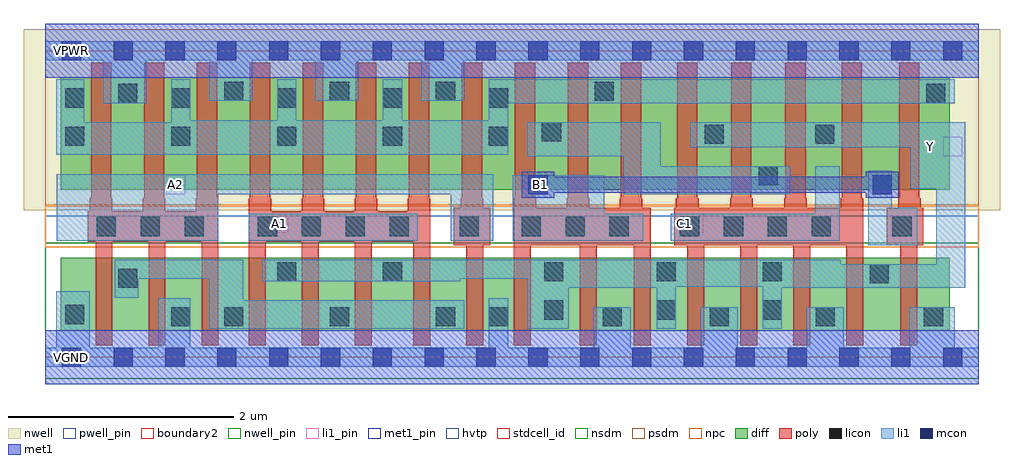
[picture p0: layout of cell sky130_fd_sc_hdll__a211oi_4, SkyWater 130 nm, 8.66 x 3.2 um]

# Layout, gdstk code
import gdstk
lib = gdstk.Library(unit=1e-6, precision=1e-09)
def R(c, l, rs):  # rectangles x0, y0, x1, y1
    for r in rs: c.add(gdstk.rectangle(r[:2], r[2:], *l))
def A(c, l, x, y, w, h, nx, ny, dx, dy):  # array of equal rectangles
    R(c, l, [(x+i*dx, y+j*dy, x+i*dx+w, y+j*dy+h) for i in range(nx) for j in range(ny)])
def P(c, l, *ps):  # polygons
    for p in ps: c.add(gdstk.Polygon(p, *l))
nwell_pin = (64, 16)
nwell = (64, 20)
diff = (65, 20)
poly = (66, 20)
licon = (66, 44)
li1_pin = (67, 16)
li1 = (67, 20)
mcon = (67, 44)
met1_pin = (68, 16)
met1 = (68, 20)
hvtp = (78, 44)
stdcell_id = (81, 4)
nsdm = (93, 44)
psdm = (94, 20)
npc = (95, 20)
pwell_pin = (122, 16)
boundary2 = (236, 0)

sky130_fd_sc_hdll__a211o = lib.new_cell('sky130_fd_sc_hdll__a211oi_4')
R(sky130_fd_sc_hdll__a211o, nwell_pin, [(0.15,2.635,0.32,2.805)])
R(sky130_fd_sc_hdll__a211o, nwell, [(-0.19,1.305,8.47,2.91)])
R(sky130_fd_sc_hdll__a211o, diff, [(0.135,0.235,8.025,0.885), (0.135,1.485,8.025,2.485)])
P(sky130_fd_sc_hdll__a211o, poly, [(1.535,1.41),(1.525,1.41),(1.525,2.615),(1.345,2.615),(1.345,1.41),(1.335,1.41),(1.335,1.295),(1.065,1.295),(1.065,1.41),(1.055,1.41),(1.055,2.615),(0.875,2.615),(0.875,1.41),(0.865,1.41),(0.865,1.295),(0.595,1.295),(0.595,1.41),(0.585,1.41),(0.585,2.615),(0.405,2.615),(0.405,1.41),(0.395,1.41),(0.395,1.295),(0.375,1.295),(0.375,1.025),(0.445,1.025),(0.445,0.105),(0.595,0.105),(0.595,1.025),(0.915,1.025),(0.915,0.105),(1.065,0.105),(1.065,1.025),(1.385,1.025),(1.385,0.105),(1.535,0.105)],
  [(3.415,1.41),(3.405,1.41),(3.405,2.615),(3.225,2.615),(3.225,1.41),(3.215,1.41),(3.215,1.295),(2.945,1.295),(2.945,1.41),(2.935,1.41),(2.935,2.615),(2.755,2.615),(2.755,1.41),(2.745,1.41),(2.745,1.295),(2.475,1.295),(2.475,1.41),(2.465,1.41),(2.465,2.615),(2.285,2.615),(2.285,1.41),(2.275,1.41),(2.275,1.295),(2.005,1.295),(2.005,1.41),(1.995,1.41),(1.995,2.615),(1.815,2.615),(1.815,1.41),(1.805,1.41),(1.805,0.105),(1.955,0.105),(1.955,1.025),(2.275,1.025),(2.275,0.105),(2.425,0.105),(2.425,1.025),(2.745,1.025),(2.745,0.105),(2.895,0.105),(2.895,1.025),(3.265,1.025),(3.265,0.105),(3.415,0.105)],
  [(3.945,1.325),(3.885,1.325),(3.885,1.41),(3.875,1.41),(3.875,2.615),(3.695,2.615),(3.695,1.41),(3.685,1.41),(3.685,1.325),(3.625,1.325),(3.625,0.995),(3.735,0.995),(3.735,0.105),(3.885,0.105),(3.885,0.995),(3.945,0.995)],
  [(5.37,1.325),(5.295,1.325),(5.295,1.41),(5.285,1.41),(5.285,2.615),(5.105,2.615),(5.105,1.41),(5.095,1.41),(5.095,1.325),(4.825,1.325),(4.825,1.41),(4.815,1.41),(4.815,2.615),(4.635,2.615),(4.635,1.41),(4.625,1.41),(4.625,1.325),(4.355,1.325),(4.355,1.41),(4.345,1.41),(4.345,2.615),(4.165,2.615),(4.165,1.41),(4.155,1.41),(4.155,0.105),(4.305,0.105),(4.305,0.995),(4.74,0.995),(4.74,0.105),(4.89,0.105),(4.89,0.995),(5.22,0.995),(5.22,0.105),(5.37,0.105)],
  [(7.255,1.41),(7.245,1.41),(7.245,2.615),(7.065,2.615),(7.065,1.41),(7.055,1.41),(7.055,1.325),(6.755,1.325),(6.755,1.41),(6.745,1.41),(6.745,2.615),(6.565,2.615),(6.565,1.41),(6.555,1.41),(6.555,1.325),(6.275,1.325),(6.275,1.41),(6.265,1.41),(6.265,2.615),(6.085,2.615),(6.085,1.41),(6.075,1.41),(6.075,1.325),(5.795,1.325),(5.795,1.41),(5.785,1.41),(5.785,2.615),(5.605,2.615),(5.605,1.41),(5.595,1.41),(5.595,1.325),(5.58,1.325),(5.58,0.995),(5.695,0.995),(5.695,0.105),(5.845,0.105),(5.845,0.995),(6.165,0.995),(6.165,0.105),(6.315,0.105),(6.315,0.995),(6.635,0.995),(6.635,0.105),(6.785,0.105),(6.785,0.995),(7.105,0.995),(7.105,0.105),(7.255,0.105)],
  [(7.79,1.325),(7.765,1.325),(7.765,1.41),(7.755,1.41),(7.755,2.615),(7.575,2.615),(7.575,1.41),(7.565,1.41),(7.565,1.325),(7.465,1.325),(7.465,0.995),(7.585,0.995),(7.585,0.105),(7.735,0.105),(7.735,0.995),(7.79,0.995)])
A(sky130_fd_sc_hdll__a211o, licon, 1.585, 0.275, 0.17, 0.17, 3, 2, 0.94, 2)
A(sky130_fd_sc_hdll__a211o, licon, 0.455, 1.075, 0.17, 0.17, 3, 1, 0.39, 0)
A(sky130_fd_sc_hdll__a211o, licon, 1.885, 1.075, 0.17, 0.17, 4, 1, 0.39, 0)
A(sky130_fd_sc_hdll__a211o, licon, 4.225, 1.075, 0.17, 0.17, 3, 1, 0.39, 0)
A(sky130_fd_sc_hdll__a211o, licon, 5.63, 1.075, 0.17, 0.17, 4, 1, 0.39, 0)
A(sky130_fd_sc_hdll__a211o, licon, 0.175, 1.875, 0.17, 0.17, 5, 2, 0.94, 0.34)
R(sky130_fd_sc_hdll__a211o, licon, [(1.115,0.275,1.285,0.445), (3.935,0.275,4.105,0.445), (4.945,0.275,5.115,0.445), (5.895,0.275,6.065,0.445), (6.835,0.275,7.005,0.445), (7.795,0.275,7.965,0.445), (0.175,0.295,0.345,0.465), (4.425,0.335,4.595,0.505), (5.425,0.335,5.595,0.505), (6.365,0.335,6.535,0.505), (0.645,0.615,0.815,0.785), (7.315,0.655,7.485,0.825), (2.055,0.675,2.225,0.845), (2.995,0.675,3.165,0.845), (4.425,0.675,4.595,0.845), (5.425,0.675,5.595,0.845), (6.365,0.675,6.535,0.845), (3.675,1.075,3.845,1.245), (7.515,1.075,7.685,1.245), (6.33,1.525,6.5,1.695), (5.85,1.895,6.02,2.065), (6.83,1.895,7,2.065), (4.405,1.915,4.575,2.085), (0.645,2.255,0.815,2.425), (7.815,2.255,7.985,2.425), (4.875,2.275,5.045,2.445)])
R(sky130_fd_sc_hdll__a211o, li1_pin, [(1.985,1.105,2.155,1.275), (5.665,1.105,5.835,1.275), (1.07,1.445,1.24,1.615), (7.965,1.785,8.135,1.955)])
R(sky130_fd_sc_hdll__a211o, li1, [(1.805,1.035,3.305,1.275)])
P(sky130_fd_sc_hdll__a211o, li1, [(8.28,0.085),(8.07,0.085),(8.07,0.445),(7.665,0.445),(7.665,0.085),(7.085,0.085),(7.085,0.445),(6.755,0.445),(6.755,0.085),(6.145,0.085),(6.145,0.445),(5.815,0.445),(5.815,0.085),(5.195,0.085),(5.195,0.445),(4.865,0.445),(4.865,0.085),(4.105,0.085),(4.105,0.525),(3.935,0.525),(3.935,0.085),(1.285,0.085),(1.285,0.525),(1,0.525),(1,0.085),(0.395,0.085),(0.395,0.585),(0.095,0.585),(0.095,0.085),(0,0.085),(0,-0.085),(8.28,-0.085)],
  [(8.28,2.805),(0,2.805),(0,2.635),(0.515,2.635),(0.515,2.255),(0.895,2.255),(0.895,2.635),(1.455,2.635),(1.455,2.275),(1.835,2.275),(1.835,2.635),(2.395,2.635),(2.395,2.275),(2.775,2.275),(2.775,2.635),(3.335,2.635),(3.335,2.275),(3.715,2.275),(3.715,2.635),(8.28,2.635)],
  [(3.975,1.625),(0.1,1.625),(0.1,1.035),(1.535,1.035),(1.535,1.445),(3.595,1.445),(3.595,1.035),(3.975,1.035)],
  [(5.305,1.275),(4.96,1.275),(4.96,1.615),(4.145,1.615),(4.145,1.035),(5.305,1.035)],
  [(6.61,1.695),(5.46,1.695),(5.46,2.085),(4.275,2.085),(4.275,1.785),(5.13,1.785),(5.13,1.445),(6.61,1.445)],
  [(7.05,1.695),(6.83,1.695),(6.83,1.275),(5.55,1.275),(5.55,1.035),(7.05,1.035)],
  [(7.735,1.325),(7.51,1.325),(7.51,1.655),(7.3,1.655),(7.3,0.995),(7.735,0.995)],
  [(8.07,2.465),(3.935,2.465),(3.935,2.105),(3.165,2.105),(3.165,2.465),(2.995,2.465),(2.995,2.105),(2.225,2.105),(2.225,2.465),(2.055,2.465),(2.055,2.105),(1.285,2.105),(1.285,2.465),(1.115,2.465),(1.115,2.085),(0.345,2.085),(0.345,2.465),(0.095,2.465),(0.095,1.795),(4.105,1.795),(4.105,2.255),(8.07,2.255)],
  [(3.715,0.505),(1.755,0.505),(1.755,0.865),(0.615,0.865),(0.615,0.53),(0.825,0.53),(0.825,0.695),(1.455,0.695),(1.455,0.255),(3.715,0.255)],
  [(8.16,2.085),(5.72,2.085),(5.72,1.865),(7.68,1.865),(7.68,1.495),(7.905,1.495),(7.905,0.825),(7.055,0.825),(7.055,0.865),(1.925,0.865),(1.925,0.675),(3.68,0.675),(3.68,0.695),(4.275,0.695),(4.275,0.255),(4.645,0.255),(4.645,0.615),(5.425,0.615),(5.425,0.255),(5.595,0.255),(5.595,0.625),(6.365,0.625),(6.365,0.255),(6.535,0.255),(6.535,0.615),(8.16,0.615)])
A(sky130_fd_sc_hdll__a211o, mcon, 0.145, -0.085, 0.17, 0.17, 18, 2, 0.46, 2.72)
R(sky130_fd_sc_hdll__a211o, mcon, [(4.285,1.445,4.455,1.615), (7.34,1.445,7.51,1.615)])
R(sky130_fd_sc_hdll__a211o, met1_pin, [(0.15,-0.085,0.32,0.085), (4.285,1.445,4.455,1.615), (0.15,2.635,0.32,2.805)])
R(sky130_fd_sc_hdll__a211o, met1, [(0,-0.24,8.28,0.24), (0,2.48,8.28,2.96)])
P(sky130_fd_sc_hdll__a211o, met1, [(7.57,1.645),(7.28,1.645),(7.28,1.6),(4.515,1.6),(4.515,1.645),(4.225,1.645),(4.225,1.415),(4.515,1.415),(4.515,1.46),(7.28,1.46),(7.28,1.415),(7.57,1.415)])
R(sky130_fd_sc_hdll__a211o, hvtp, [(0,1.25,8.28,2.72)])
R(sky130_fd_sc_hdll__a211o, stdcell_id, [(0,0,8.28,2.72)])
R(sky130_fd_sc_hdll__a211o, nsdm, [(0,-0.19,8.28,1.015)])
R(sky130_fd_sc_hdll__a211o, psdm, [(0,1.355,8.28,2.91)])
R(sky130_fd_sc_hdll__a211o, npc, [(0,0.975,8.28,1.345)])
R(sky130_fd_sc_hdll__a211o, pwell_pin, [(0.15,-0.085,0.32,0.085)])
R(sky130_fd_sc_hdll__a211o, boundary2, [(0,0,8.28,2.72)])
sky130_fd_sc_hdll__a211o.add(gdstk.Label('A2', (1.155,1.53), layer=67, texttype=5))
sky130_fd_sc_hdll__a211o.add(gdstk.Label('A1', (2.075,1.19), layer=67, texttype=5))
sky130_fd_sc_hdll__a211o.add(gdstk.Label('C1', (5.675,1.19), layer=67, texttype=5))
sky130_fd_sc_hdll__a211o.add(gdstk.Label('Y', (7.85,1.87), layer=67, texttype=5))
sky130_fd_sc_hdll__a211o.add(gdstk.Label('B1', (4.395,1.53), layer=68, texttype=5))
sky130_fd_sc_hdll__a211o.add(gdstk.Label('VPWR', (0.235,2.72), layer=68, texttype=5))
sky130_fd_sc_hdll__a211o.add(gdstk.Label('VGND', (0.23,0), layer=68, texttype=5))
sky130_fd_sc_hdll__a211o.add(gdstk.Label('VNB', (0.235,0), layer=64, texttype=59))
sky130_fd_sc_hdll__a211o.add(gdstk.Label('VPB', (0.235,2.72), layer=64, texttype=5))

lib.write_gds('sky130_fd_sc_hdll__a211oi_4.gds')
